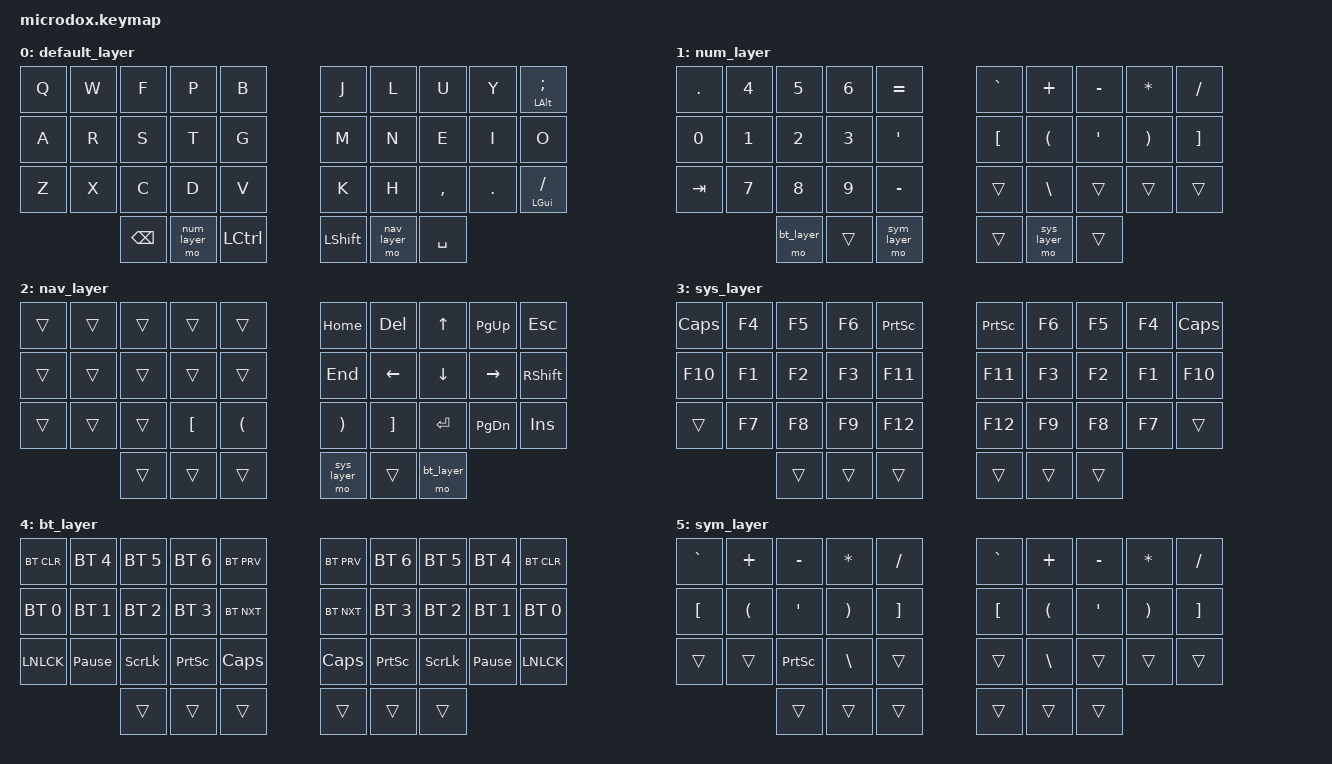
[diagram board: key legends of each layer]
/*
 * Copyright (c) 2020 The ZMK Contributors
 *
 * SPDX-License-Identifier: MIT
 */

#include <behaviors.dtsi>
#include <dt-bindings/zmk/keys.h>
#include <dt-bindings/zmk/bt.h>

#define DEFAULT   0
#define num_layer 1
#define nav_layer 2
#define sys_layer 3
#define bt_layer  4
#define sym_layer 5

/ {
    combos {
        compatible = "zmk,combos";
        combo_esc {
            timeout-ms = <50>;
            key-positions = <20 21>;
            bindings = <&kp ESC>;
        };
        combo_tab {
            timeout-ms = <50>;
            key-positions = <22 23>;
            bindings = <&kp TAB>;
        };
        combo_alt {
            timeout-ms = <50>;
            key-positions = <26 27>;
            bindings = <&kp LALT>;
        };
        combo_gui {
            timeout-ms = <50>;
            key-positions = <28 29>;
            bindings = <&kp LGUI>;
        };       
    };

        keymap {
                compatible = "zmk,keymap";
                default_layer {
                        bindings = <
   &kp Q &kp W &kp F    &kp P &kp B   &kp J       &kp L     &kp U         &kp Y     &mt LALT SEMI
   &kp A &kp R &kp S    &kp T &kp G   &kp M       &kp N     &kp E         &kp I     &kp O
   &kp Z &kp X &kp C    &kp D &kp V   &kp K       &kp H     &kp COMMA     &kp DOT   &mt LGUI FSLH
               &kp BSPC &mo num_layer &kp LCTRL   &kp LSHFT &mo nav_layer &kp SPACE
                        >;
                };
                num_layer {
                        bindings = <
   &kp DOT &kp N4 &kp N5        &kp N6 &kp EQUAL      &kp GRAVE &kp PLUS         &kp MINUS &kp STAR &kp SLASH
   &kp N0  &kp N1 &kp N2        &kp N3 &kp SQT        &kp LBKT  &kp LPAR         &kp SQT   &kp RPAR &kp RBKT
   &kp TAB &kp N7 &kp N8        &kp N9 &kp MINUS      &trans    &kp BSLH         &trans    &trans   &trans
                  &mo bt_layer  &trans &mo sym_layer  &trans    &mo sys_layer    &trans
                        >;
                };
                nav_layer {
                        bindings = <
   &trans &trans &trans &trans   &trans     &kp HOME      &kp DEL  &kp UP   &kp PG_UP &kp ESC
   &trans &trans &trans &trans   &trans     &kp END       &kp LEFT &kp DOWN &kp RIGHT &kp RSHFT
   &trans &trans &trans &kp LBKT &kp LPAR   &kp RPAR      &kp RBKT &kp RET  &kp PG_DN &kp INS
                 &trans &trans   &trans     &mo sys_layer &trans   &mo bt_layer
                        >;
                };
                sys_layer {
                        bindings = <
   &kp CAPS &kp F4 &kp F5 &kp F6 &kp PSCRN   &kp PSCRN &kp F6 &kp F5 &kp F4 &kp CAPS
   &kp F10  &kp F1 &kp F2 &kp F3 &kp F11     &kp F11   &kp F3 &kp F2 &kp F1 &kp F10
   &trans   &kp F7 &kp F8 &kp F9 &kp F12     &kp F12   &kp F9 &kp F8 &kp F7 &trans
                   &trans &trans &trans      &trans    &trans &trans
                        >;
                };
                bt_layer {
                        bindings = <
   &bt BT_CLR   &bt BT_SEL 4    &bt BT_SEL 5 &bt BT_SEL 6 &bt BT_PRV     &bt BT_PRV  &bt BT_SEL 6 &bt BT_SEL 5 &bt BT_SEL 4    &bt BT_CLR
   &bt BT_SEL 0 &bt BT_SEL 1    &bt BT_SEL 2 &bt BT_SEL 3 &bt BT_NXT     &bt BT_NXT  &bt BT_SEL 3 &bt BT_SEL 2 &bt BT_SEL 1    &bt BT_SEL 0
   &kp LNLCK    &kp PAUSE_BREAK &kp SLCK     &kp PSCRN    &kp CAPS       &kp CAPS    &kp PSCRN    &kp SLCK     &kp PAUSE_BREAK &kp LNLCK
                                &trans       &trans       &trans         &trans      &trans       &trans
                        >;
                };
                sym_layer {
                        bindings = <
   &kp GRAVE &kp PLUS &kp MINUS &kp STAR &kp SLASH   &kp GRAVE &kp PLUS  &kp MINUS &kp STAR &kp SLASH
   &kp LBKT  &kp LPAR &kp SQT   &kp RPAR &kp RBKT    &kp LBKT  &kp LPAR  &kp SQT   &kp RPAR &kp RBKT
   &trans    &trans   &kp PSCRN &kp BSLH &trans      &trans    &kp BSLH  &trans    &trans   &trans
                      &trans    &trans   &trans      &trans    &trans    &trans
                        >;
                };
        };
};
